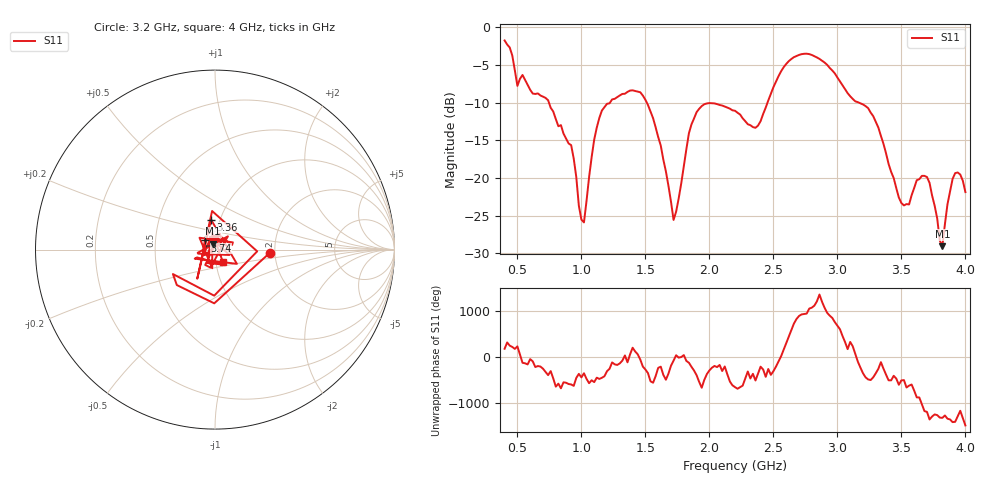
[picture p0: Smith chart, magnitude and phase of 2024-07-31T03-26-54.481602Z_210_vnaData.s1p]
!Created with skrf (http://scikit-rf.org).
# Hz S RI R 50.0
!freq ReS11 ImS11
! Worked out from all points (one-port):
!   181 points, 400 MHz to 4 GHz, reference 50 ohm
!   lowest |S11| = -29.1 dB at 3.82 GHz (marker M1), VSWR 1.07, Z = 48.8 + j3.28 ohm
!   |S11| at or under -10 dB: 746 MHz to 1.224 GHz (478 MHz wide, 48.5 % of centre); 1.511 GHz to 2.454 GHz (943.7 MHz wide, 47.6 % of centre); 3.166 GHz to end of sweep
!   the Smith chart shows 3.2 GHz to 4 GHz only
!   S11 on the Smith chart (normalised r, x): 3.2 GHz: 1.88, -0.07; 3.36 GHz: 0.91, +0.31; 3.74 GHz: 0.89, +0.09; 4 GHz: 1.08, -0.15
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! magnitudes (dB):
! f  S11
! 400 MHz  -1.8
! 500 MHz  -7.8
! 740 MHz  -9.7
! 860 MHz  -14.1
! 920 MHz  -15.7
! 1.02 GHz  -25.9
! 1.14 GHz  -12.0
! 1.3 GHz  -9.1
! 1.5 GHz  -9.6
! 1.62 GHz  -15.7
! 1.72 GHz  -25.6
! 1.76 GHz  -22.7
! 1.84 GHz  -14.1
! 1.9 GHz  -11.3
! 2.2 GHz  -11.1
! 2.38 GHz  -13.1
! 2.66 GHz  -4.0
! 2.86 GHz  -4.2
! 3.1 GHz  -9.2
! 3.2 GHz  -10.3
! 3.36 GHz  -15.5
! 3.48 GHz  -22.6
! 3.56 GHz  -23.5
! 3.66 GHz  -19.7
! 3.74 GHz  -22.4
! 3.82 GHz  -29.1
! 3.9 GHz  -20.1
! 4 GHz  -21.9
